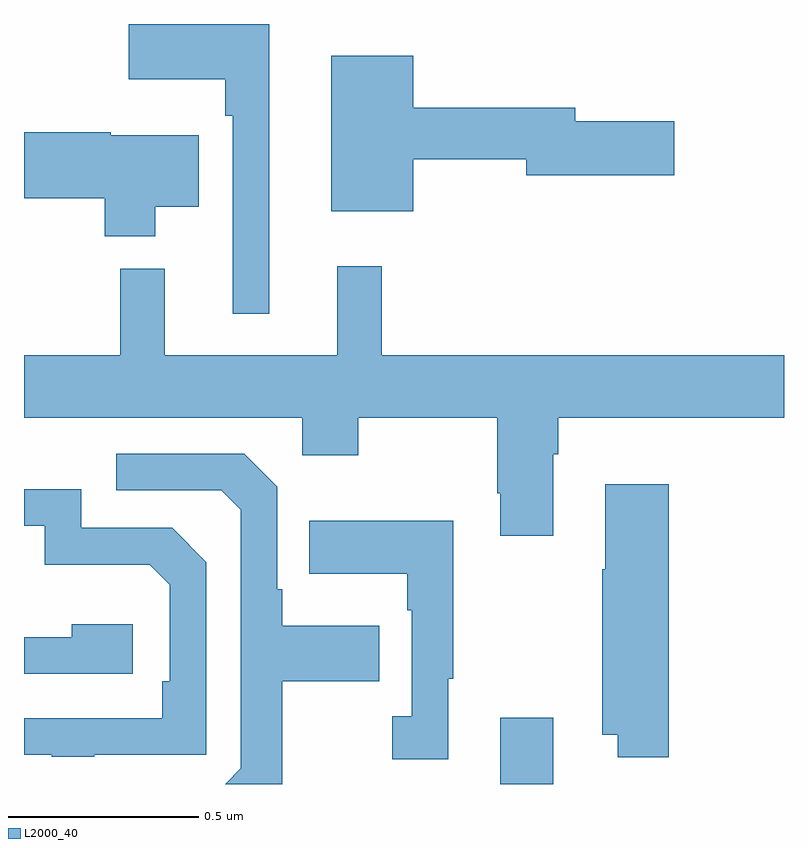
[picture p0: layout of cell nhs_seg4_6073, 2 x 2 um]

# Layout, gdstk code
import gdstk
lib = gdstk.Library(unit=1e-6, precision=1e-09)
def R(c, l, rs):  # rectangles x0, y0, x1, y1
    for r in rs: c.add(gdstk.rectangle(r[:2], r[2:], *l))
def P(c, l, *ps):  # polygons
    for p in ps: c.add(gdstk.Polygon(p, *l))
L2000_40 = (2000, 40)

nhs_seg4_6073 = lib.new_cell('nhs_seg4_6073')
R(nhs_seg4_6073, L2000_40, [(187.253,751.9,187.393,752.074)])
P(nhs_seg4_6073, L2000_40, [(186.646,753.9),(186.275,753.9),(186.275,753.755),(186.529,753.755),(186.529,753.659),(186.549,753.659),(186.549,753.138),(186.646,753.138)],
  [(187.024,753.544),(187.322,753.544),(187.322,753.502),(187.711,753.502),(187.711,753.644),(187.45,753.644),(187.45,753.68),(187.024,753.68),(187.024,753.817),(186.809,753.817),(186.809,753.407),(187.024,753.407)],
  [(186.346,753.419),(186.46,753.419),(186.46,753.607),(186.228,753.607),(186.228,753.615),(186,753.615),(186,753.442),(186.212,753.442),(186.212,753.341),(186.346,753.341)],
  [(187.393,752.768),(187.406,752.768),(187.406,752.864),(188,752.864),(188,753.028),(186.941,753.028),(186.941,753.262),(186.824,753.262),(186.824,753.028),(186.371,753.028),(186.371,753.256),(186.253,753.256),(186.253,753.028),(186,753.028),(186,752.864),(186.732,752.864),(186.732,752.765),(186.879,752.765),(186.879,752.864),(187.246,752.864),(187.246,752.665),(187.253,752.665),(187.253,752.553),(187.393,752.553)],
  [(186.679,752.17),(186.935,752.17),(186.935,752.317),(186.679,752.317),(186.679,752.413),(186.666,752.413),(186.666,752.682),(186.579,752.769),(186.243,752.769),(186.243,752.673),(186.519,752.673),(186.57,752.622),(186.57,751.941),(186.529,751.9),(186.679,751.9)],
  [(187.697,752.689),(187.529,752.689),(187.529,752.465),(187.522,752.465),(187.522,752.03),(187.562,752.03),(187.562,751.971),(187.697,751.971)],
  [(186.185,751.977),(186.48,751.977),(186.48,752.484),(186.39,752.574),(186.15,752.574),(186.15,752.676),(186,752.676),(186,752.58),(186.054,752.58),(186.054,752.477),(186.331,752.477),(186.384,752.424),(186.384,752.17),(186.364,752.17),(186.364,752.073),(186,752.073),(186,751.977),(186.073,751.977),(186.073,751.972),(186.185,751.972)],
  [(187.117,752.177),(187.129,752.177),(187.129,752.593),(186.751,752.593),(186.751,752.453),(187.008,752.453),(187.008,752.357),(187.02,752.357),(187.02,752.078),(186.969,752.078),(186.969,751.965),(187.117,751.965)],
  [(186.286,752.32),(186.125,752.32),(186.125,752.286),(186,752.286),(186,752.19),(186.286,752.19)])

lib.write_gds('nhs_seg4_6073.gds')
